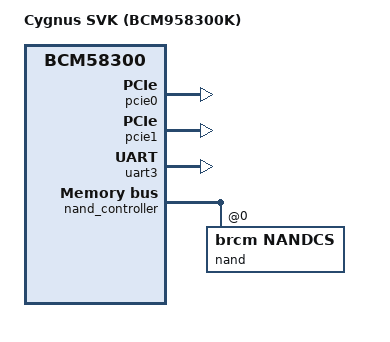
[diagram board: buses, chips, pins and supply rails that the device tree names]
/dts-v1/;
#include "bcm-cygnus.dtsi"
#include "bcm9hmidc.dtsi"
/ {
	model = "Cygnus SVK (BCM958300K)";
	compatible = "brcm,bcm58300", "brcm,cygnus";
	aliases {
		serial0 = &uart3;
	};
	chosen {
		stdout-path = "serial0:115200n8";
	};
};
&pcie0 {
	status = "okay";
};
&pcie1 {
	status = "okay";
};
&uart3 {
	status = "okay";
};
&nand_controller {
	nand@1 {
		compatible = "brcm,nandcs";
		reg = <0>;
		nand-on-flash-bbt;
		#address-cells = <1>;
		#size-cells = <1>;
		nand-ecc-strength = <24>;
		nand-ecc-step-size = <1024>;
		brcm,nand-oob-sector-size = <27>;
	};
};
